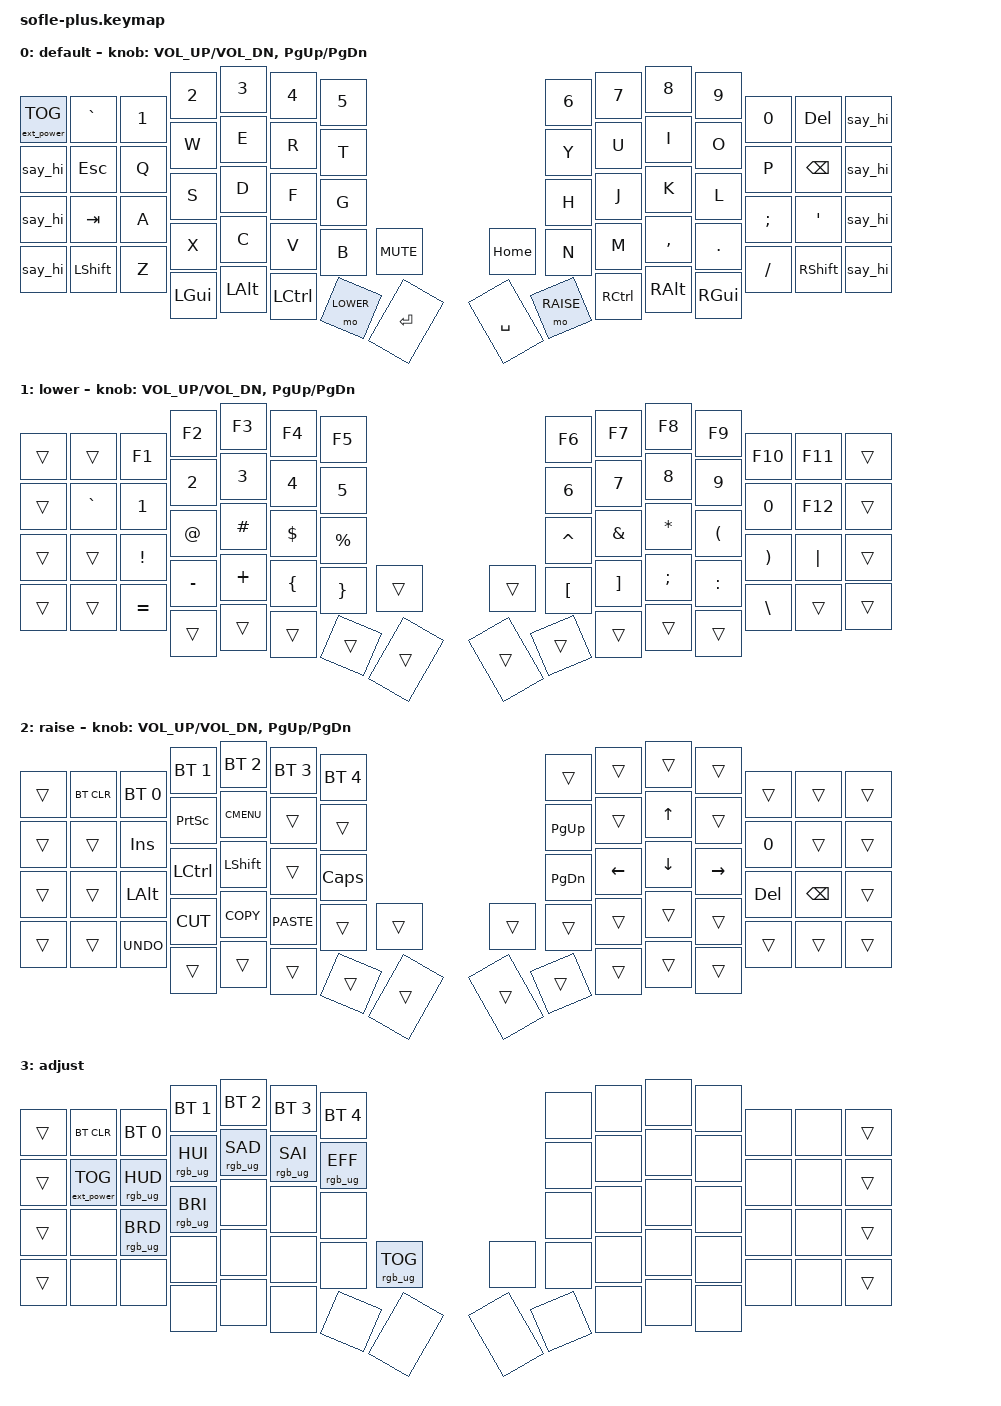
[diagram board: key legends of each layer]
/*
 * Copyright (c) 2020 The ZMK Contributors
 *
 * SPDX-License-Identifier: MIT
 */

#ifndef ZMK_BEHAVIORS_KEEP_ALL
#define ZMK_BEHAVIORS_KEEP_ALL
#endif
#include <behaviors.dtsi>
#include <dt-bindings/zmk/bt.h>
#include <dt-bindings/zmk/ext_power.h>
#include <dt-bindings/zmk/keys.h>
#include <dt-bindings/zmk/rgb.h>

#define BASE 0
#define LOWER 1
#define RAISE 2
#define ADJUST 3

/ {
    // Activate ADJUST layer by pressing raise and lower

    conditional_layers {
        compatible = "zmk,conditional-layers";

        adjust_layer {
            if-layers = <LOWER RAISE>;
            then-layer = <ADJUST>;
        };
    };

    macros {
        say_hi: say_hi {
            compatible = "zmk,behavior-macro";
            #binding-cells = <0>;
            bindings = <&kp H &kp I>;
        };
    };

    keymap {
        compatible = "zmk,keymap";

        default_layer {
            display-name = "default";
            bindings = <
&ext_power EP_TOG  &kp GRAVE  &kp N1  &kp N2    &kp N3    &kp N4     &kp N5                            &kp N6     &kp N7     &kp N8     &kp N9    &kp N0    &kp DELETE  &say_hi
&say_hi            &kp ESC    &kp Q   &kp W     &kp E     &kp R      &kp T                             &kp Y      &kp U      &kp I      &kp O     &kp P     &kp BSPC    &say_hi
&say_hi            &kp TAB    &kp A   &kp S     &kp D     &kp F      &kp G                             &kp H      &kp J      &kp K      &kp L     &kp SEMI  &kp SQT     &say_hi
&say_hi            &kp LSHFT  &kp Z   &kp X     &kp C     &kp V      &kp B      &kp C_MUTE  &kp HOME   &kp N      &kp M      &kp COMMA  &kp DOT   &kp FSLH  &kp RSHFT   &say_hi
                                      &kp LGUI  &kp LALT  &kp LCTRL  &mo LOWER  &kp RET     &kp SPACE  &mo RAISE  &kp RCTRL  &kp RALT   &kp RGUI
            >;

            sensor-bindings = <&inc_dec_kp C_VOL_UP C_VOL_DN &inc_dec_kp PG_UP PG_DN>;
        };

        lower_layer {
            display-name = "lower";
            bindings = <
&trans  &trans     &kp F1     &kp F2     &kp F3    &kp F4    &kp F5                     &kp F6     &kp F7    &kp F8     &kp F9     &kp F10   &kp F11   &trans
&trans  &kp GRAVE  &kp N1     &kp N2     &kp N3    &kp N4    &kp N5                     &kp N6     &kp N7    &kp N8     &kp N9     &kp N0    &kp F12   &trans
&trans  &trans     &kp EXCL   &kp AT     &kp HASH  &kp DLLR  &kp PRCNT                  &kp CARET  &kp AMPS  &kp ASTRK  &kp LPAR   &kp RPAR  &kp PIPE  &trans
&trans  &trans     &kp EQUAL  &kp MINUS  &kp PLUS  &kp LBRC  &kp RBRC   &trans  &trans  &kp LBKT   &kp RBKT  &kp SEMI   &kp COLON  &kp BSLH  &trans    &trans
                              &trans     &trans    &trans    &trans     &trans  &trans  &trans     &trans    &trans     &trans
            >;

            sensor-bindings = <&inc_dec_kp C_VOL_UP C_VOL_DN &inc_dec_kp PG_UP PG_DN>;
        };

        raise_layer {
            display-name = "raise";
            bindings = <
&trans  &bt BT_CLR  &bt BT_SEL 0  &bt BT_SEL 1  &bt BT_SEL 2  &bt BT_SEL 3  &bt BT_SEL 4                  &trans     &trans    &trans    &trans     &trans   &trans    &trans
&trans  &trans      &kp INS       &kp PSCRN     &kp K_CMENU   &trans        &trans                        &kp PG_UP  &trans    &kp UP    &trans     &kp N0   &trans    &trans
&trans  &trans      &kp LALT      &kp LCTRL     &kp LSHFT     &trans        &kp CLCK                      &kp PG_DN  &kp LEFT  &kp DOWN  &kp RIGHT  &kp DEL  &kp BSPC  &trans
&trans  &trans      &kp K_UNDO    &kp K_CUT     &kp K_COPY    &kp K_PASTE   &trans        &trans  &trans  &trans     &trans    &trans    &trans     &trans   &trans    &trans
                                  &trans        &trans        &trans        &trans        &trans  &trans  &trans     &trans    &trans    &trans
            >;

            sensor-bindings = <&inc_dec_kp C_VOL_UP C_VOL_DN &inc_dec_kp PG_UP PG_DN>;
        };

        adjust_layer {
            display-name = "adjust";
            bindings = <
&trans  &bt BT_CLR         &bt BT_SEL 0     &bt BT_SEL 1     &bt BT_SEL 2     &bt BT_SEL 3     &bt BT_SEL 4                             &none  &none  &none  &none  &none  &none  &trans
&trans  &ext_power EP_TOG  &rgb_ug RGB_HUD  &rgb_ug RGB_HUI  &rgb_ug RGB_SAD  &rgb_ug RGB_SAI  &rgb_ug RGB_EFF                          &none  &none  &none  &none  &none  &none  &trans
&trans  &none              &rgb_ug RGB_BRD  &rgb_ug RGB_BRI  &none            &none            &none                                    &none  &none  &none  &none  &none  &none  &trans
&trans  &none              &none            &none            &none            &none            &none            &rgb_ug RGB_TOG  &none  &none  &none  &none  &none  &none  &none  &trans
                                            &none            &none            &none            &none            &none            &none  &none  &none  &none  &none
            >;
        };
    };
};
